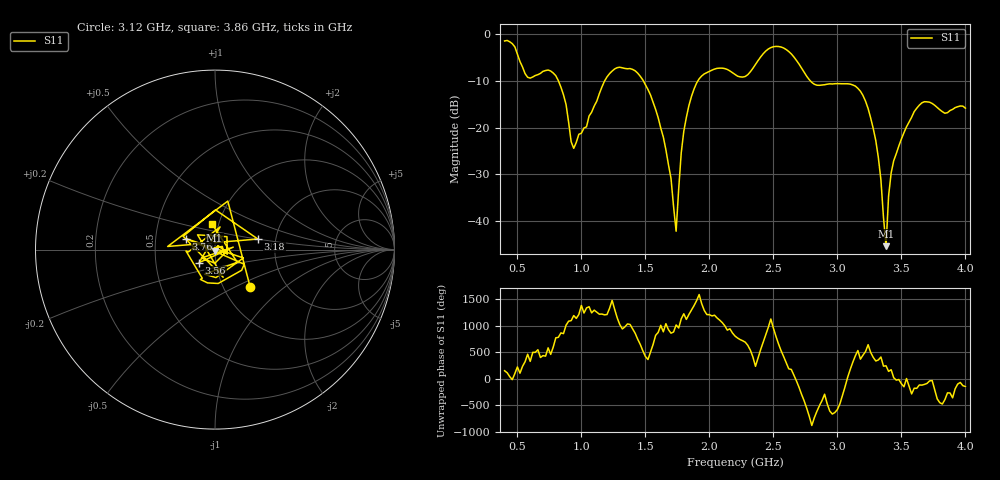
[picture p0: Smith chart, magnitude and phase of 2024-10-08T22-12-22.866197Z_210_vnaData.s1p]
! Created with skrf (http://scikit-rf.org).
# Hz S RI R 50.0
!freq ReS11 ImS11
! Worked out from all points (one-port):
!   181 points, 400 MHz to 4 GHz, reference 50 ohm
!   lowest |S11| = -45.3 dB at 3.38 GHz (marker M1), VSWR 1.01, Z = 49.8 - j0.5 ohm
!   |S11| at or under -10 dB: 821.1 MHz to 1.181 GHz (359.6 MHz wide, 35.9 % of centre); 1.485 GHz to 1.909 GHz (424.5 MHz wide, 25 % of centre); 2.79 GHz to end of sweep
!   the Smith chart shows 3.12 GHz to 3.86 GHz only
!   S11 on the Smith chart (normalised r, x): 3.12 GHz: 1.33, -0.61; 3.18 GHz: 1.61, +0.20; 3.56 GHz: 0.83, -0.12; 3.76 GHz: 0.72, +0.09; 3.86 GHz: 0.93, +0.27
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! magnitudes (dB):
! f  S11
! 400 MHz  -1.4
! 580 MHz  -9.2
! 760 MHz  -7.8
! 860 MHz  -12.9
! 940 MHz  -24.4
! 1.3 GHz  -7.0
! 1.44 GHz  -8.3
! 1.58 GHz  -16.1
! 1.7 GHz  -30.8
! 1.74 GHz  -42.1
! 1.76 GHz  -33.1
! 1.8 GHz  -20.7
! 1.9 GHz  -10.4
! 2.2 GHz  -8.6
! 2.5 GHz  -2.7
! 2.66 GHz  -4.8
! 2.82 GHz  -10.7
! 3.1 GHz  -10.7
! 3.12 GHz  -10.8
! 3.18 GHz  -12.2
! 3.3 GHz  -22.7
! 3.38 GHz  -45.3
! 3.4 GHz  -34.6
! 3.42 GHz  -29.7
! 3.56 GHz  -18.8
! 3.76 GHz  -15.2
! 3.86 GHz  -16.8
! 4 GHz  -15.8
